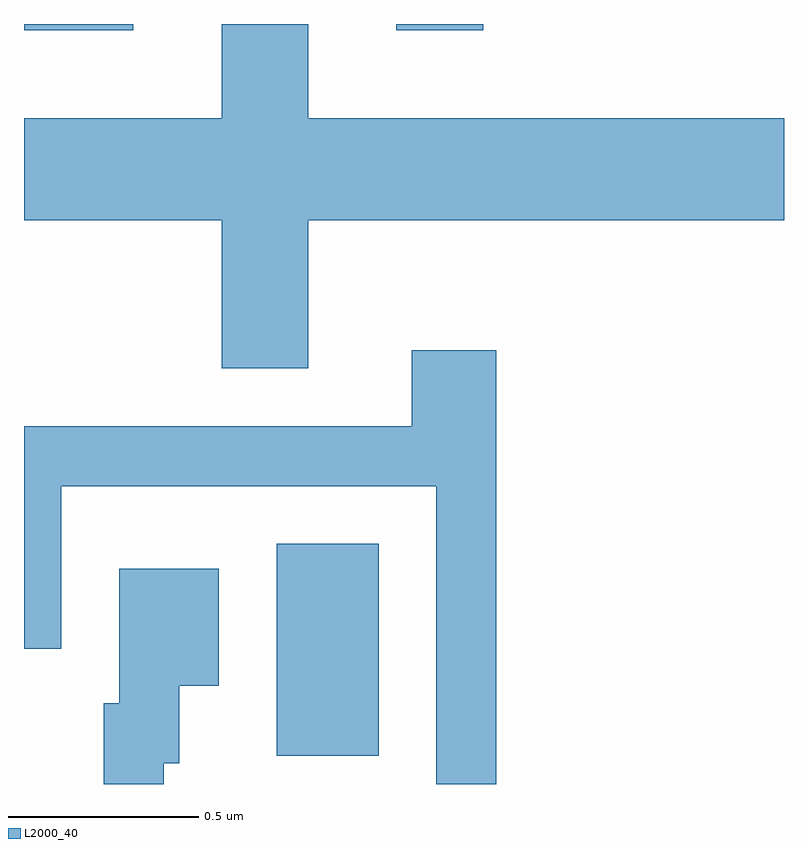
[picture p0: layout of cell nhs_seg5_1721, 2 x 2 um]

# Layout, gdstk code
import gdstk
lib = gdstk.Library(unit=1e-6, precision=1e-09)
def R(c, l, rs):  # rectangles x0, y0, x1, y1
    for r in rs: c.add(gdstk.rectangle(r[:2], r[2:], *l))
def P(c, l, *ps):  # polygons
    for p in ps: c.add(gdstk.Polygon(p, *l))
L2000_40 = (2000, 40)

nhs_seg5_1721 = lib.new_cell('nhs_seg5_1721')
R(nhs_seg5_1721, L2000_40, [(198.276,1473.146,198.544,1473.704), (197.611,1475.056,197.899,1475.072), (198.591,1475.056,198.819,1475.072)])
P(nhs_seg5_1721, L2000_40, [(198.359,1474.556),(199.611,1474.556),(199.611,1474.824),(198.359,1474.824),(198.359,1475.072),(198.131,1475.072),(198.131,1474.824),(197.611,1474.824),(197.611,1474.556),(198.131,1474.556),(198.131,1474.166),(198.359,1474.166)],
  [(198.854,1474.214),(198.631,1474.214),(198.631,1474.014),(197.611,1474.014),(197.611,1473.428),(197.709,1473.428),(197.709,1473.856),(198.696,1473.856),(198.696,1473.072),(198.854,1473.072)],
  [(197.979,1473.126),(198.019,1473.126),(198.019,1473.331),(198.124,1473.331),(198.124,1473.639),(197.861,1473.639),(197.861,1473.284),(197.821,1473.284),(197.821,1473.072),(197.979,1473.072)])

lib.write_gds('nhs_seg5_1721.gds')
